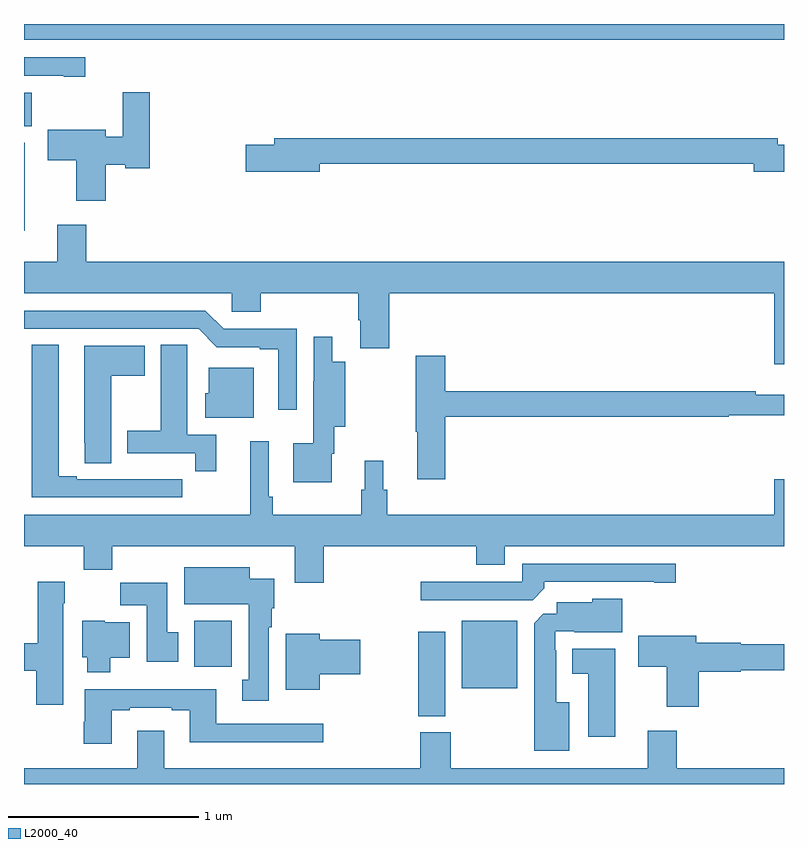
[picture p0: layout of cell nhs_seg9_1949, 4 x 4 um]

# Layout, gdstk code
import gdstk
lib = gdstk.Library(unit=1e-6, precision=1e-09)
def R(c, l, rs):  # rectangles x0, y0, x1, y1
    for r in rs: c.add(gdstk.rectangle(r[:2], r[2:], *l))
def P(c, l, *ps):  # polygons
    for p in ps: c.add(gdstk.Polygon(p, *l))
L2000_40 = (2000, 40)

nhs_seg9_1949 = lib.new_cell('nhs_seg9_1949')
R(nhs_seg9_1949, L2000_40, [(223.075,1196.857,223.216,1197.301), (223.304,1197.005,223.597,1197.358), (221.897,1197.116,222.094,1197.358), (221,1199.412,221.005,1199.875), (221,1199.963,221.041,1200.139), (221,1200.416,225,1200.5)])
P(nhs_seg9_1949, L2000_40, [(221.323,1200.324),(221,1200.324),(221,1200.228),(221.21,1200.228),(221.21,1200.223),(221.323,1200.223)],
  [(221.431,1199.759),(221.532,1199.759),(221.532,1199.741),(221.663,1199.741),(221.663,1200.142),(221.521,1200.142),(221.521,1199.906),(221.431,1199.906),(221.431,1199.944),(221.124,1199.944),(221.124,1199.782),(221.276,1199.782),(221.276,1199.571),(221.431,1199.571)],
  [(222.556,1199.764),(224.84,1199.764),(224.84,1199.722),(225,1199.722),(225,1199.864),(224.968,1199.864),(224.968,1199.9),(222.317,1199.9),(222.317,1199.864),(222.168,1199.864),(222.168,1199.722),(222.556,1199.722)],
  [(225,1199.248),(221.327,1199.248),(221.327,1199.443),(221.174,1199.443),(221.174,1199.248),(221,1199.248),(221,1199.084),(222.093,1199.084),(222.093,1198.986),(222.245,1198.986),(222.245,1199.084),(222.758,1199.084),(222.758,1198.942),(222.77,1198.942),(222.77,1198.794),(222.923,1198.794),(222.923,1199.084),(224.948,1199.084),(224.948,1198.71),(225,1198.71)],
  [(222.435,1198.896),(222.051,1198.896),(221.955,1198.992),(221,1198.992),(221,1198.896),(221.919,1198.896),(222.015,1198.8),(222.242,1198.8),(222.242,1198.788),(222.338,1198.788),(222.338,1198.47),(222.435,1198.47)],
  [(222.621,1198.238),(222.634,1198.238),(222.634,1198.379),(222.69,1198.379),(222.69,1198.723),(222.622,1198.723),(222.622,1198.855),(222.524,1198.855),(222.524,1198.619),(222.523,1198.619),(222.523,1198.294),(222.416,1198.294),(222.416,1198.088),(222.621,1198.088)],
  [(221.833,1198.104),(221.72,1198.104),(221.72,1198.105),(221.554,1198.105),(221.554,1198.104),(221.278,1198.104),(221.278,1198.119),(221.182,1198.119),(221.182,1198.811),(221.042,1198.811),(221.042,1198.008),(221.833,1198.008)],
  [(222.011,1198.338),(221.86,1198.338),(221.86,1198.7),(221.859,1198.7),(221.859,1198.811),(221.72,1198.811),(221.72,1198.359),(221.543,1198.359),(221.543,1198.242),(221.902,1198.242),(221.902,1198.146),(222.011,1198.146)],
  [(221.458,1198.648),(221.635,1198.648),(221.635,1198.807),(221.318,1198.807),(221.318,1198.297),(221.319,1198.297),(221.319,1198.189),(221.458,1198.189)],
  [(223.217,1198.432),(224.71,1198.432),(224.71,1198.44),(225,1198.44),(225,1198.549),(224.852,1198.549),(224.852,1198.568),(223.217,1198.568),(223.217,1198.753),(223.063,1198.753),(223.063,1198.355),(223.07,1198.355),(223.07,1198.104),(223.217,1198.104)],
  [(222.208,1198.69),(221.972,1198.69),(221.972,1198.557),(221.954,1198.557),(221.954,1198.427),(222.208,1198.427)],
  [(222.578,1197.752),(223.379,1197.752),(223.379,1197.653),(223.531,1197.653),(223.531,1197.752),(225,1197.752),(225,1198.105),(224.948,1198.105),(224.948,1197.916),(222.911,1197.916),(222.911,1198.05),(222.892,1198.05),(222.892,1198.201),(222.794,1198.201),(222.794,1198.05),(222.775,1198.05),(222.775,1197.916),(222.308,1197.916),(222.308,1198.012),(222.288,1198.012),(222.288,1198.303),(222.191,1198.303),(222.191,1197.916),(221,1197.916),(221,1197.752),(221.314,1197.752),(221.314,1197.628),(221.465,1197.628),(221.465,1197.752),(222.425,1197.752),(222.425,1197.558),(222.578,1197.558)],
  [(223.739,1197.53),(223.739,1197.564),(224.318,1197.564),(224.318,1197.559),(224.431,1197.559),(224.431,1197.66),(223.623,1197.66),(223.623,1197.564),(223.089,1197.564),(223.089,1197.468),(223.677,1197.468)],
  [(222.289,1197.326),(222.304,1197.326),(222.304,1197.426),(222.316,1197.426),(222.316,1197.58),(222.187,1197.58),(222.187,1197.64),(221.843,1197.64),(221.843,1197.446),(222.182,1197.446),(222.182,1197.05),(222.149,1197.05),(222.149,1196.937),(222.289,1196.937)],
  [(221.206,1197.452),(221.214,1197.452),(221.214,1197.565),(221.072,1197.565),(221.072,1197.242),(221,1197.242),(221,1197.095),(221.065,1197.095),(221.065,1196.916),(221.206,1196.916)],
  [(221.812,1197.3),(221.755,1197.3),(221.755,1197.558),(221.506,1197.558),(221.506,1197.44),(221.645,1197.44),(221.645,1197.144),(221.812,1197.144)],
  [(223.87,1196.929),(223.801,1196.929),(223.801,1197.203),(223.797,1197.203),(223.797,1197.303),(223.897,1197.303),(223.897,1197.299),(224.149,1197.299),(224.149,1197.475),(223.992,1197.475),(223.992,1197.457),(223.805,1197.457),(223.805,1197.396),(223.734,1197.396),(223.685,1197.347),(223.685,1196.675),(223.87,1196.675)],
  [(221.455,1197.164),(221.557,1197.164),(221.557,1197.352),(221.424,1197.352),(221.424,1197.358),(221.306,1197.358),(221.306,1197.168),(221.333,1197.168),(221.333,1197.089),(221.455,1197.089)],
  [(222.556,1197.077),(222.769,1197.077),(222.769,1197.26),(222.556,1197.26),(222.556,1197.292),(222.377,1197.292),(222.377,1196.996),(222.556,1196.996)],
  [(224.552,1197.092),(224.772,1197.092),(224.772,1197.1),(225,1197.1),(225,1197.236),(224.772,1197.236),(224.772,1197.244),(224.539,1197.244),(224.539,1197.28),(224.232,1197.28),(224.232,1197.118),(224.384,1197.118),(224.384,1196.907),(224.552,1196.907)],
  [(224.113,1197.211),(223.886,1197.211),(223.886,1197.08),(223.97,1197.08),(223.97,1196.748),(224.113,1196.748)],
  [(221.461,1196.889),(221.557,1196.889),(221.557,1196.901),(221.777,1196.901),(221.777,1196.889),(221.873,1196.889),(221.873,1196.72),(222.574,1196.72),(222.574,1196.817),(222.013,1196.817),(222.013,1196.998),(221.321,1196.998),(221.321,1196.828),(221.314,1196.828),(221.314,1196.712),(221.461,1196.712)],
  [(225,1196.584),(224.435,1196.584),(224.435,1196.779),(224.282,1196.779),(224.282,1196.584),(223.245,1196.584),(223.245,1196.772),(223.085,1196.772),(223.085,1196.584),(221.737,1196.584),(221.737,1196.779),(221.597,1196.779),(221.597,1196.584),(221,1196.584),(221,1196.5),(225,1196.5)])

lib.write_gds('nhs_seg9_1949.gds')
